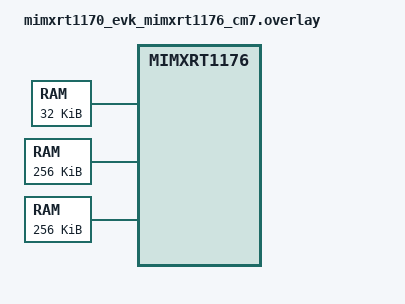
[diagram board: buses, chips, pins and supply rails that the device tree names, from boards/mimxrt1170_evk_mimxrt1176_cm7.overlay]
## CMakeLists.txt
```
# Copyright 2026 NXP
#
# SPDX-License-Identifier: Apache-2.0

cmake_minimum_required(VERSION 3.20.0)
find_package(Zephyr REQUIRED HINTS $ENV{ZEPHYR_BASE})
project(multicore_pipeline)

file(GLOB app_sources src/*.c)
target_sources(app PRIVATE ${app_sources})

if(CONFIG_SAMPLE_INCLUDE_REMOTE_DIR)
  target_include_directories(zephyr_interface
    INTERFACE ${CMAKE_CURRENT_BINARY_DIR}/../remote/zephyr/include/public)
endif()

# Generate MJPEG file to test using GStreamer CLI
find_program(GST_LAUNCH gst-launch-1.0 REQUIRED)

set(TEST_MJPEG_FILE ${ZEPHYR_BINARY_DIR}/include/generated/test.mjpeg)

add_custom_command(
  OUTPUT ${TEST_MJPEG_FILE}
  COMMAND ${GST_LAUNCH}
    videotestsrc num-buffers=${CONFIG_MJPEG_NUM_FRAMES}
    ! videoconvert
    ! "video/x-raw,format=I420,width=${CONFIG_JPEG_IMAGE_WIDTH},height=${CONFIG_JPEG_IMAGE_HEIGHT}"
    ! timeoverlay font-desc="Sans 32"
    ! jpegenc
    ! filesink location=${TEST_MJPEG_FILE}
  COMMENT "Generating test.mjpeg (${CONFIG_JPEG_IMAGE_WIDTH}x${CONFIG_JPEG_IMAGE_HEIGHT}, ${CONFIG_MJPEG_NUM_FRAMES} frames) using GStreamer"
)

add_custom_target(gen_test_mjpeg DEPENDS ${TEST_MJPEG_FILE})

generate_inc_file_for_target(app
  ${TEST_MJPEG_FILE}
  ${ZEPHYR_BINARY_DIR}/include/generated/mjpeg.inc
)

add_dependencies(app gen_test_mjpeg)
```

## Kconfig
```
# Copyright 2026 NXP
# SPDX-License-Identifier: Apache-2.0

mainmenu "Multi-core MJPEG decode pipeline"

menu "Pipeline configuration"

config FILE_INPUT_PATH
	string "Input MJPEG file path"
	default "/SD:/test.mjpeg"
	help
	  Absolute path to the MJPEG input file.

config JPEG_IMAGE_WIDTH
	int "Width of the decoded JPEG image"
	default 320

config JPEG_IMAGE_HEIGHT
	int "Height of the decoded JPEG image"
	default 240

config MJPEG_NUM_FRAMES
	int "Number of frames in the generated test MJPEG file"
	default 150
	help
	  Number of video frames to generate in the test MJPEG file.
	  The file is produced at build time using GStreamer CLI.

endmenu

config SAMPLE_INCLUDE_REMOTE_DIR
	bool "Include remote core header directory"
	help
	  Include remote build header files. Can be used if primary image
	  needs to be aware of size or base address of secondary image

source "Kconfig.zephyr"
```

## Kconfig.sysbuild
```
# Copyright 2026 NXP
#
# SPDX-License-Identifier: Apache-2.0

source "share/sysbuild/Kconfig"

config REMOTE_BOARD
	string
	default "mimxrt1170_evk/mimxrt1176/cm4" if $(BOARD) = "mimxrt1170_evk"
```

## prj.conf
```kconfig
CONFIG_LOG=y

# main() mounts the filesystem and writes the input file before starting the
# pipeline, which the default main stack does not cover.
CONFIG_MAIN_STACK_SIZE=4096
CONFIG_HEAP_MEM_POOL_SIZE=16384

CONFIG_MPIPE=y
CONFIG_MPIPE_STRUCTURE_MAX_FIELDS=3
CONFIG_MPIPE_RPC=y
CONFIG_MPIPE_ERPC=y
CONFIG_MPIPE_BASE=y
CONFIG_MPIPE_BASE_CAPS_FILTER=y
CONFIG_MPIPE_BASE_QUEUE=y
# The pipeline thread plus the queue thread
CONFIG_MPIPE_THREADS_NUM=2
CONFIG_MPIPE_FS=y
CONFIG_MPIPE_IMG=y
CONFIG_MPIPE_VID=y
CONFIG_MPIPE_DISP=y
CONFIG_MPIPE_PLAYER=y
# At the parser, we need simultaneously 1 input + 1 output + 1 partial (for next frame) buffers
# File chunks, three parser frames (one queued), the decoder output and slack
CONFIG_MPIPE_NET_BUF_POOL_COUNT=8
# Largest estimated size for 320x240 JPEG image
CONFIG_MPIPE_IMG_JPEG_PARSER_MAX_FRAME_SIZE=153600

CONFIG_FILE_SYSTEM=y
CONFIG_FAT_FILESYSTEM_ELM=y
CONFIG_FS_FATFS_LFN=y
CONFIG_FS_FATFS_MAX_LFN=255
CONFIG_DISK_ACCESS=y
CONFIG_DISK_DRIVERS=y

# eRPC over the IPC service: one client, statically allocated
CONFIG_ERPC=y
CONFIG_ERPC_TRANSPORT_IPC_SERVICE=y
CONFIG_ERPC_ALLOCATION_POLICY_STATIC=y
CONFIG_ERPC_CODEC_COUNT=1
CONFIG_ERPC_MESSAGE_LOGGERS_COUNT=1
CONFIG_ERPC_DEFAULT_BUFFER_SIZE=4096

# RPMsg-Lite
CONFIG_RL_API_HAS_ZEROCOPY=y
CONFIG_RL_USE_STATIC_API=y
CONFIG_TIMESLICE_SIZE=1

# The bus carries end-of-stream and errors, never data: it needs neither
# zbus priority boost nor zbus logging of its own.
CONFIG_ZBUS_PRIORITY_BOOST=n
CONFIG_ZBUS_LOG_LEVEL_ERR=y
```

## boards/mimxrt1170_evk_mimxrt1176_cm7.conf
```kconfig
# 3 JPEG buffers for the parser: 1 in the queue, 1 being parsed, 1 at the decoder
# 1 RGB565 buffer for the decoder output
CONFIG_VIDEO_BUFFER_POOL_NUM_MAX=4
CONFIG_VIDEO_BUFFER_POOL_HEAP_SIZE=471040

# Both cores access the frames: keep them out of the M7 caches
CONFIG_VIDEO_BUFFER_POOL_ZEPHYR_REGION=y
CONFIG_VIDEO_BUFFER_POOL_ZEPHYR_REGION_NAME="OCRAM1"

CONFIG_SAMPLE_INCLUDE_REMOTE_DIR=y
CONFIG_SECOND_CORE_MCUX=y

CONFIG_MCUX_ELCDIF_FB_NUM=1
```

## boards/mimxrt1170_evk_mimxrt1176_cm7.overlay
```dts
/*
 * Copyright 2026 NXP
 *
 * SPDX-License-Identifier: Apache-2.0
 */

#include <zephyr/dt-bindings/ipc_service/static_vrings.h>
#include <zephyr/dt-bindings/memory-attr/memory-attr-arm.h>

/ {
	aliases {
		/* The IPC instance eRPC runs over */
		erpc-ipc = &ipc0;
	};

	chosen {
		/* Delete ipc chosen property where old IPM mailbox driver below is
		 * configured.
		 */
		/delete-property/ zephyr,ipc;
		/delete-property/ zephyr,ipc_shm;
	};

	/* Define memory regions for IPC
	 * Note that shared memory must have specific MPU attributes set.
	 */
	ocram2_ipc0: memory@202c0000 {
		compatible = "zephyr,memory-region", "mmio-sram";
		reg = <0x202c0000 DT_SIZE_K(32)>;
		zephyr,memory-region = "OCRAM2_IPC0";
		zephyr,memory-attr = <DT_MEM_ARM(ATTR_MPU_IO)>;
	};

	/*
	 * The video frames live in OCRAM1 and are read by the remote core, so
	 * the M7 must not cache them. The MPU anchors a region at a multiple
	 * of its size and OCRAM1 is 512K at a 256K-aligned address: cover it
	 * with two 256K regions.
	 */
	ocram1_nocache_lo: memory@20240000 {
		compatible = "zephyr,memory-region", "mmio-sram";
		reg = <0x20240000 DT_SIZE_K(256)>;
		zephyr,memory-region = "OCRAM1_NOCACHE_LO";
		zephyr,memory-attr = <DT_MEM_ARM_MPU_RAM_NOCACHE>;
	};

	ocram1_nocache_hi: memory@20280000 {
		compatible = "zephyr,memory-region", "mmio-sram";
		reg = <0x20280000 DT_SIZE_K(256)>;
		zephyr,memory-region = "OCRAM1_NOCACHE_HI";
		zephyr,memory-attr = <DT_MEM_ARM_MPU_RAM_NOCACHE>;
	};

	soc {
		/* Delete IPM Driver node nxp,imx-mu */
		/delete-node/ mailbox@40c48000;

		/* Attach MBOX driver to MU Unit */
		mbox: mbox@40c48000 {
			compatible = "nxp,mbox-imx-mu";
			reg = <0x40c48000 0x4000>;
			interrupts = <118 0>;
			rx-channels = <4>;
			#mbox-cells = <1>;
			status = "okay";
		};
	};

	ipc {
		/delete-node/ ipc0;

		ipc0: ipc0 {
			compatible = "nxp,ipc-rpmsg-lite";
			memory-region = <&ocram2_ipc0>;
			/* With ipc-rpmsg-lite we can reuse same MBOX channel per IPC instance */
			mboxes = <&mbox 2>, <&mbox 3>;
			mbox-names = "tx", "rx";
			link-id = <0>;
			role = "host";
			buffer-size = <512>;
			buffer-count = <2>;
			status = "okay";
		};
	};
};
```

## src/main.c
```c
/*
 * Copyright 2026 NXP
 *
 * SPDX-License-Identifier: Apache-2.0
 */

#include <errno.h>
#if defined(CONFIG_FAT_FILESYSTEM_ELM)
#include <ff.h>
#endif

#include <zephyr/drivers/video.h>
#include <zephyr/fs/fs.h>
#include <zephyr/logging/log.h>

#include <zephyr/mpipe/mpipe.h>
#include <zephyr/mpipe/base/mpipe_caps_filter.h>
#include <zephyr/mpipe/base/mpipe_queue.h>
#include <zephyr/mpipe/disp/mpipe_disp_sink.h>
#include <zephyr/mpipe/erpc/mpipe_erpc.h>
#include <zephyr/mpipe/fs/mpipe_file_src.h>
#include <zephyr/mpipe/img/mpipe_img_jpeg_parser.h>
#include <zephyr/mpipe/utils/mpipe_player.h>
#include <zephyr/mpipe/vid/mpipe_vid_transform_client_erpc.h>

LOG_MODULE_REGISTER(main, CONFIG_LOG_DEFAULT_LEVEL);

/* Element IDs (values are arbitrary; only uniqueness within the pipeline matters) */
enum {
	PIPE_ID,
	FILE_SRC_ID,
	JPEG_PARSER_ID,
	CAPS_FILTER_ID,
	QUEUE_ID,
	JPEG_DEC_ID,
	DISP_SINK_ID,
};

#define MNT_POINT "/SD:"

#if defined(CONFIG_FAT_FILESYSTEM_ELM)
static FATFS fat_fs;
#endif

static struct fs_mount_t mp = {
	.type = FS_FATFS,
#if defined(CONFIG_FAT_FILESYSTEM_ELM)
	.fs_data = &fat_fs,
#endif
	.mnt_point = MNT_POINT,
};

static const uint8_t mjpeg[] = {
#include "mjpeg.inc"
};
static const size_t mjpeg_sz = sizeof(mjpeg);

static int embed_test_file(void)
{
	struct fs_dirent ent;
	int ret = fs_stat(CONFIG_FILE_INPUT_PATH, &ent);

	if (ret == 0) {
		/* A file of the same size is assumed to be the embedded one: keep it */
		if (mjpeg_sz == 0 || ent.size == mjpeg_sz) {
			return 0;
		}

		LOG_INF("%s is %u bytes, embedded file is %u bytes: replacing it",
			CONFIG_FILE_INPUT_PATH, (unsigned int)ent.size, (unsigned int)mjpeg_sz);
	} else if (ret != -ENOENT) {
		LOG_ERR("fs_stat(%s) failed (%d)", CONFIG_FILE_INPUT_PATH, ret);
		return ret;
	} else if (mjpeg_sz == 0) {
		LOG_ERR("MJPEG test file not available");
		return -ENOENT;
	}

	struct fs_file_t f;

	fs_file_t_init(&f);

	ret = fs_open(&f, CONFIG_FILE_INPUT_PATH, FS_O_CREATE | FS_O_WRITE | FS_O_TRUNC);
	if (ret != 0) {
		LOG_ERR("fs_open(%s) failed (%d)", CONFIG_FILE_INPUT_PATH, ret);
		return ret;
	}

	ssize_t w = fs_write(&f, mjpeg, mjpeg_sz);

	if (w < 0 || (size_t)w != mjpeg_sz) {
		LOG_ERR("fs_write failed (%d)", (int)w);
		(void)fs_close(&f);
		return (w < 0) ? (int)w : -EIO;
	}

	(void)fs_close(&f);

	LOG_INF("Created %s file for test (%u bytes)", CONFIG_FILE_INPUT_PATH,
		(unsigned int)mjpeg_sz);

	return 0;
}

static int mount_sd(void)
{
	int ret;

	ret = fs_mount(&mp);
	if (ret != 0) {
		LOG_ERR("fs_mount failed (%d)", ret);
		return ret;
	}

	LOG_INF("SDCard mounted at %s", MNT_POINT);

	ret = embed_test_file();
	if (ret != 0) {
		return ret;
	}

	return 0;
}

static struct mpipe pipe;
static struct mpipe_file_src file_src;
static struct mpipe_img_jpeg_parser jpeg_parser;
static struct mpipe_caps_filter caps_filter;
/* Decouples the file reading from the wait for the remote decoder */
static struct mpipe_queue queue;
/* The decoder runs on the remote core; this element is its client */
static struct mpipe_vid_transform_client jpeg_dec;
static struct mpipe_disp_sink disp_sink;
static struct mpipe_player player;

int main(void)
{
	int ret;

	/* Link to the remote core first: it waits for the link a bounded time */
	if (mpipe_erpc_client_init() == NULL) {
		goto err;
	}

	ret = mount_sd();
	if (ret != 0) {
		goto err;
	}

	ret = mpipe_pipeline_init(&pipe, PIPE_ID);
	if (ret < 0) {
		goto err;
	}
	ret = mpipe_file_src_init(&file_src, FILE_SRC_ID);
	if (ret < 0) {
		goto err;
	}
	ret = mpipe_img_jpeg_parser_init(&jpeg_parser, JPEG_PARSER_ID);
	if (ret < 0) {
		goto err;
	}
	ret = mpipe_caps_filter_init(&caps_filter, CAPS_FILTER_ID);
	if (ret < 0) {
		goto err;
	}
	ret = mpipe_queue_init(&queue, QUEUE_ID);
	if (ret < 0) {
		goto err;
	}
	ret = mpipe_vid_transform_client_erpc_init(&jpeg_dec, JPEG_DEC_ID);
	if (ret < 0) {
		goto err;
	}
	ret = mpipe_disp_sink_init(&disp_sink, DISP_SINK_ID);
	if (ret < 0) {
		goto err;
	}

	ret = mpipe_object_set_properties((struct mpipe_object *)&file_src, MPIPE_PROP_FS_SRC_PATH,
					  CONFIG_FILE_INPUT_PATH, MPIPE_PROP_LIST_END);
	if (ret < 0) {
		goto err;
	}

	/* One frame in flight is enough to overlap the file reading with the decoding */
	{
		uint8_t queue_size = 1;

		ret = mpipe_object_set_properties((struct mpipe_object *)&queue,
						  MPIPE_PROP_BASE_QUEUE_SIZE, &queue_size,
						  MPIPE_PROP_LIST_END);
	}
	if (ret < 0) {
		goto err;
	}

	{
		struct mpipe_structure caps;

		ret = mpipe_structure_init_fields(
			&caps, MPIPE_MEDIA_VIDEO, MPIPE_CAPS_PIXEL_FORMAT, MPIPE_TYPE_UINT,
			VIDEO_PIX_FMT_JPEG, MPIPE_CAPS_IMAGE_WIDTH, MPIPE_TYPE_UINT,
			CONFIG_JPEG_IMAGE_WIDTH, MPIPE_CAPS_IMAGE_HEIGHT, MPIPE_TYPE_UINT,
			CONFIG_JPEG_IMAGE_HEIGHT, MPIPE_CAPS_END);

		if (ret != 0) {
			goto err;
		}

		ret = mpipe_object_set_properties((struct mpipe_object *)&caps_filter,
						  MPIPE_PROP_BASE_CAPS_FILTER_CAPS, &caps,
						  MPIPE_PROP_LIST_END);
		if (ret < 0) {
			goto err;
		}
	}

	ret = mpipe_bin_add((struct mpipe_bin *)&pipe, (struct mpipe_element *)&file_src,
			    (struct mpipe_element *)&jpeg_parser,
			    (struct mpipe_element *)&caps_filter, (struct mpipe_element *)&queue,
			    (struct mpipe_element *)&jpeg_dec, (struct mpipe_element *)&disp_sink,
			    NULL);
	if (ret < 0) {
		LOG_ERR("Failed to add elements (%d)", ret);
		goto err;
	}

	ret = mpipe_element_link(
		(struct mpipe_element *)&file_src, (struct mpipe_element *)&jpeg_parser,
		(struct mpipe_element *)&caps_filter, (struct mpipe_element *)&queue,
		(struct mpipe_element *)&jpeg_dec, (struct mpipe_element *)&disp_sink, NULL);
	if (ret < 0) {
		LOG_ERR("Failed to link elements (%d)", ret);
		goto err;
	}

	LOG_INF("Pipeline linked.");

	ret = mpipe_player_init(&player, &pipe);
	if (ret != 0) {
		LOG_ERR("Failed to init player (%d)", ret);
		goto err;
	}

	(void)mpipe_player_play(&player);
	(void)mpipe_player_wait_quit(&player);
	(void)mpipe_player_deinit(&player);

	ret = fs_unmount(&mp);
	if (ret != 0) {
		LOG_ERR("fs_unmount failed (%d)", ret);
	}

	LOG_INF("Done.");

	return 0;

err:
	LOG_ERR("Aborting sample");
	return 0;
}
```
